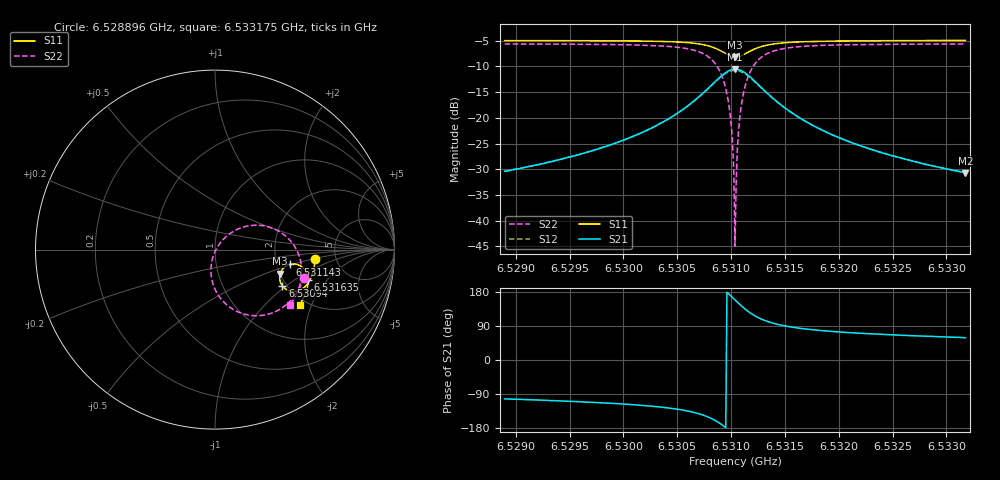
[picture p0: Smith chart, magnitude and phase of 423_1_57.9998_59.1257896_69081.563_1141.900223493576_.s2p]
#  HZ  S  RI  R  50.00
! Rohde & Schwarz Vector Network Analyzer
! Rohde-Schwarz,ZNB20-2Port,1311601062101988,3.16
! Created: UTC 3/21/2024, 1:09:13 AM
! freq[Hz]  re:S11  im:S11  re:S21  im:S21  re:S12  im:S12  re:S22  im:S22
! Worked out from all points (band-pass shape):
!   401 points, 6.528896 GHz to 6.533175 GHz, reference 50 ohm
!   highest |S21| = -10.55 dB at 6.531036 GHz (marker M1); lowest = -30.7 dB at 6.533175 GHz (marker M2)
!   |S21| within 3 dB of the highest: 6.530823 GHz to 6.531251 GHz (427.9 kHz wide, 0.00655 % of centre)
!   lowest |S11| = -8.2 dB at 6.531036 GHz (marker M3), VSWR 2.26, Z = 100 - j31.8 ohm
!   |S11| at or under -10 dB: nowhere
!   |S22| runs from -44.9 to -5.7 dB; largest |S21 - S12| = 0.011
!   S11 on the Smith chart (normalised r, x): 6.528896 GHz: 3.47, -0.54; 6.53094 GHz: 1.90, -0.93; 6.531143 GHz: 2.36, -0.48; 6.531635 GHz: 2.71, -1.29; 6.533175 GHz: 1.83, -1.65
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6.5288965e9  0.5586 -0.0535  -0.00659 -0.0295  -0.00715 -0.0294  0.4964 -0.1564
6.5296132e9  0.5487 -0.1127  -0.0156 -0.0418  -0.0164 -0.0416  0.4668 -0.2224
6.5303299e9  0.5209 -0.1825  -0.048 -0.072  -0.05 -0.0708  0.3883 -0.3146
6.5307578e9  0.4522 -0.2319  -0.1521 -0.0976  -0.1546 -0.0917  0.1877 -0.365
6.5308648e9  0.4088 -0.2273  -0.2194 -0.0726  -0.2191 -0.0636  0.0724 -0.3134
6.5309397e9  0.3751 -0.2013  -0.2697 -0.0165  -0.2644 -0.00717  -0.00418 -0.211
6.5309718e9  0.3647 -0.1819  -0.2829 0.0208  -0.2756 0.0291  -0.0209 -0.1468
6.5309932e9  0.361 -0.1668  -0.2866 0.049  -0.2778 0.0559  -0.0222 -0.0995
6.5310039e9  0.3603 -0.1588  -0.2862 0.0636  -0.2769 0.0699  -0.0196 -0.0755
6.5310146e9  0.3605 -0.1507  -0.2846 0.0784  -0.2748 0.0838  -0.0143 -0.0511
6.5310253e9  0.3613 -0.1425  -0.2813 0.0932  -0.2713 0.0976  -0.00671 -0.0275
6.531036e9  0.3633 -0.1345  -0.2767 0.1074  -0.2665 0.1111  0.0033 -0.0046
6.5310574e9  0.3696 -0.1192  -0.2631 0.1348  -0.2531 0.1362  0.0296 0.0378
6.5310681e9  0.3739 -0.1123  -0.2544 0.1469  -0.2447 0.1477  0.0457 0.0566
6.5310895e9  0.3844 -0.1003  -0.2345 0.1683  -0.2253 0.1674  0.0821 0.0885
6.5311429e9  0.4164 -0.0826  -0.1761 0.1998  -0.1698 0.197  0.1834 0.1318
6.5312071e9  0.4528 -0.0817  -0.1121 0.2041  -0.1085 0.2012  0.2918 0.1281
6.5313034e9  0.4888 -0.0998  -0.0492 0.1796  -0.0474 0.178  0.3955 0.0738
6.531635e9  0.519 -0.167  0.0109 0.0994  0.0118 0.099  0.4818 -0.0929
6.5317527e9  0.5186 -0.1839  0.0148 0.0836  0.0158 0.0833  0.4828 -0.128
6.5324694e9  0.4989 -0.2558  0.0173 0.0399  0.0179 0.0398  0.4554 -0.2442
6.5331755e9  0.4715 -0.3079  0.0151 0.0249  0.0156 0.0248  0.4205 -0.306
